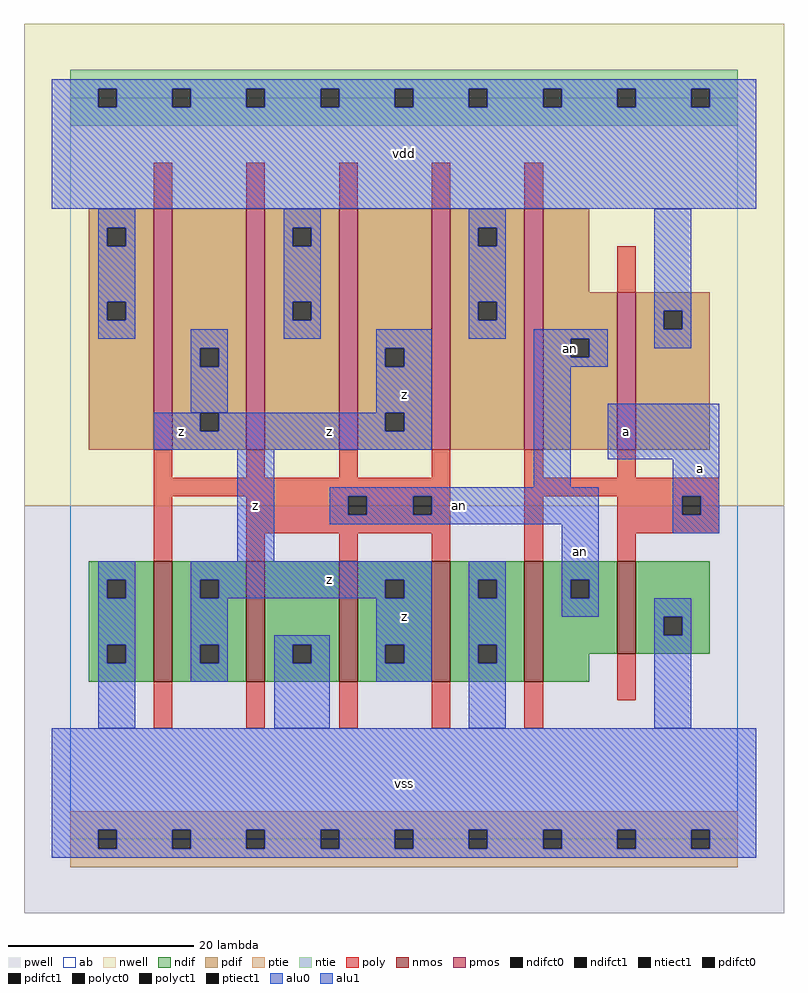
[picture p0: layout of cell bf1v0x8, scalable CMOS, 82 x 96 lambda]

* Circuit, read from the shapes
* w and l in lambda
.subckt bf1v0x8 a an vdd vss z
M1 z an vss vss nfet w=13 l=2 m=4
M2 an a vss vss nfet w=13 l=2
M3 vss a an vss nfet w=10 l=2
M4 z an vdd vdd pfet w=26 l=2 m=4
M5 an a vdd vdd pfet w=26 l=2
M6 vdd a an vdd pfet w=17 l=2
.ends

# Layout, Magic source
magic
tech scmos
<< ab >>
rect 0 0 72 80
<< nwell >>
rect -5 36 77 88
<< pwell >>
rect -5 -8 77 36
<< poly >>
rect 9 68 11 73
rect 19 68 21 73
rect 29 68 31 73
rect 39 68 41 73
rect 49 68 51 73
rect 59 59 61 64
rect 9 39 11 42
rect 19 39 21 42
rect 29 39 31 42
rect 39 39 41 42
rect 9 37 41 39
rect 9 30 11 37
rect 19 35 30 37
rect 32 35 37 37
rect 39 35 41 37
rect 19 33 41 35
rect 19 30 21 33
rect 29 30 31 33
rect 39 30 41 33
rect 49 39 51 42
rect 59 39 61 42
rect 49 37 70 39
rect 49 30 51 37
rect 59 35 66 37
rect 68 35 70 37
rect 59 33 70 35
rect 59 30 61 33
rect 9 12 11 17
rect 19 12 21 17
rect 29 12 31 17
rect 39 12 41 17
rect 49 12 51 17
rect 59 15 61 20
<< ndif >>
rect 2 28 9 30
rect 2 26 4 28
rect 6 26 9 28
rect 2 21 9 26
rect 2 19 4 21
rect 6 19 9 21
rect 2 17 9 19
rect 11 28 19 30
rect 11 26 14 28
rect 16 26 19 28
rect 11 21 19 26
rect 11 19 14 21
rect 16 19 19 21
rect 11 17 19 19
rect 21 21 29 30
rect 21 19 24 21
rect 26 19 29 21
rect 21 17 29 19
rect 31 28 39 30
rect 31 26 34 28
rect 36 26 39 28
rect 31 21 39 26
rect 31 19 34 21
rect 36 19 39 21
rect 31 17 39 19
rect 41 28 49 30
rect 41 26 44 28
rect 46 26 49 28
rect 41 21 49 26
rect 41 19 44 21
rect 46 19 49 21
rect 41 17 49 19
rect 51 28 59 30
rect 51 26 54 28
rect 56 26 59 28
rect 51 20 59 26
rect 61 24 69 30
rect 61 22 64 24
rect 66 22 69 24
rect 61 20 69 22
rect 51 17 56 20
<< pdif >>
rect 2 66 9 68
rect 2 64 4 66
rect 6 64 9 66
rect 2 58 9 64
rect 2 56 4 58
rect 6 56 9 58
rect 2 42 9 56
rect 11 53 19 68
rect 11 51 14 53
rect 16 51 19 53
rect 11 46 19 51
rect 11 44 14 46
rect 16 44 19 46
rect 11 42 19 44
rect 21 66 29 68
rect 21 64 24 66
rect 26 64 29 66
rect 21 58 29 64
rect 21 56 24 58
rect 26 56 29 58
rect 21 42 29 56
rect 31 53 39 68
rect 31 51 34 53
rect 36 51 39 53
rect 31 46 39 51
rect 31 44 34 46
rect 36 44 39 46
rect 31 42 39 44
rect 41 66 49 68
rect 41 64 44 66
rect 46 64 49 66
rect 41 58 49 64
rect 41 56 44 58
rect 46 56 49 58
rect 41 42 49 56
rect 51 59 56 68
rect 51 54 59 59
rect 51 52 54 54
rect 56 52 59 54
rect 51 42 59 52
rect 61 57 69 59
rect 61 55 64 57
rect 66 55 69 57
rect 61 42 69 55
<< alu1 >>
rect -2 81 74 82
rect -2 79 3 81
rect 5 79 11 81
rect 13 79 19 81
rect 21 79 27 81
rect 29 79 35 81
rect 37 79 43 81
rect 45 79 51 81
rect 53 79 59 81
rect 61 79 67 81
rect 69 79 74 81
rect -2 68 74 79
rect 33 53 39 55
rect 33 51 34 53
rect 36 51 39 53
rect 33 46 39 51
rect 9 44 14 46
rect 16 44 34 46
rect 36 44 39 46
rect 9 42 39 44
rect 18 30 22 42
rect 58 41 70 47
rect 13 28 39 30
rect 13 26 14 28
rect 16 26 34 28
rect 36 26 39 28
rect 13 21 17 26
rect 13 19 14 21
rect 16 19 17 21
rect 13 17 17 19
rect 33 21 39 26
rect 33 19 34 21
rect 36 19 39 21
rect 33 17 39 19
rect 65 37 70 41
rect 65 35 66 37
rect 68 35 70 37
rect 65 33 70 35
rect -2 1 74 12
rect -2 -1 3 1
rect 5 -1 11 1
rect 13 -1 19 1
rect 21 -1 27 1
rect 29 -1 35 1
rect 37 -1 43 1
rect 45 -1 51 1
rect 53 -1 59 1
rect 61 -1 67 1
rect 69 -1 74 1
rect -2 -2 74 -1
<< ptie >>
rect 0 1 72 3
rect 0 -1 3 1
rect 5 -1 11 1
rect 13 -1 19 1
rect 21 -1 27 1
rect 29 -1 35 1
rect 37 -1 43 1
rect 45 -1 51 1
rect 53 -1 59 1
rect 61 -1 67 1
rect 69 -1 72 1
rect 0 -3 72 -1
<< ntie >>
rect 0 81 72 83
rect 0 79 3 81
rect 5 79 11 81
rect 13 79 19 81
rect 21 79 27 81
rect 29 79 35 81
rect 37 79 43 81
rect 45 79 51 81
rect 53 79 59 81
rect 61 79 67 81
rect 69 79 72 81
rect 0 77 72 79
<< nmos >>
rect 9 17 11 30
rect 19 17 21 30
rect 29 17 31 30
rect 39 17 41 30
rect 49 17 51 30
rect 59 20 61 30
<< pmos >>
rect 9 42 11 68
rect 19 42 21 68
rect 29 42 31 68
rect 39 42 41 68
rect 49 42 51 68
rect 59 42 61 59
<< polyct0 >>
rect 30 35 32 37
rect 37 35 39 37
<< polyct1 >>
rect 66 35 68 37
<< ndifct0 >>
rect 4 26 6 28
rect 4 19 6 21
rect 24 19 26 21
rect 44 26 46 28
rect 44 19 46 21
rect 54 26 56 28
rect 64 22 66 24
<< ndifct1 >>
rect 14 26 16 28
rect 14 19 16 21
rect 34 26 36 28
rect 34 19 36 21
<< ntiect1 >>
rect 3 79 5 81
rect 11 79 13 81
rect 19 79 21 81
rect 27 79 29 81
rect 35 79 37 81
rect 43 79 45 81
rect 51 79 53 81
rect 59 79 61 81
rect 67 79 69 81
<< ptiect1 >>
rect 3 -1 5 1
rect 11 -1 13 1
rect 19 -1 21 1
rect 27 -1 29 1
rect 35 -1 37 1
rect 43 -1 45 1
rect 51 -1 53 1
rect 59 -1 61 1
rect 67 -1 69 1
<< pdifct0 >>
rect 4 64 6 66
rect 4 56 6 58
rect 14 51 16 53
rect 24 64 26 66
rect 24 56 26 58
rect 44 64 46 66
rect 44 56 46 58
rect 54 52 56 54
rect 64 55 66 57
<< pdifct1 >>
rect 14 44 16 46
rect 34 51 36 53
rect 34 44 36 46
<< alu0 >>
rect 3 66 7 68
rect 3 64 4 66
rect 6 64 7 66
rect 3 58 7 64
rect 3 56 4 58
rect 6 56 7 58
rect 3 54 7 56
rect 23 66 27 68
rect 23 64 24 66
rect 26 64 27 66
rect 23 58 27 64
rect 23 56 24 58
rect 26 56 27 58
rect 13 53 17 55
rect 23 54 27 56
rect 43 66 47 68
rect 43 64 44 66
rect 46 64 47 66
rect 43 58 47 64
rect 43 56 44 58
rect 46 56 47 58
rect 13 51 14 53
rect 16 51 17 53
rect 13 46 17 51
rect 43 54 47 56
rect 63 57 67 68
rect 63 55 64 57
rect 66 55 67 57
rect 50 54 58 55
rect 50 52 54 54
rect 56 52 58 54
rect 63 53 67 55
rect 50 51 58 52
rect 50 38 54 51
rect 28 37 57 38
rect 28 35 30 37
rect 32 35 37 37
rect 39 35 57 37
rect 28 34 57 35
rect 3 28 7 30
rect 3 26 4 28
rect 6 26 7 28
rect 3 21 7 26
rect 3 19 4 21
rect 6 19 7 21
rect 3 12 7 19
rect 22 21 28 22
rect 22 19 24 21
rect 26 19 28 21
rect 22 12 28 19
rect 43 28 47 30
rect 43 26 44 28
rect 46 26 47 28
rect 43 21 47 26
rect 53 28 57 34
rect 53 26 54 28
rect 56 26 57 28
rect 53 24 57 26
rect 63 24 67 26
rect 43 19 44 21
rect 46 19 47 21
rect 43 12 47 19
rect 63 22 64 24
rect 66 22 67 24
rect 63 12 67 22
<< labels >>
rlabel alu0 55 31 55 31 6 an
rlabel alu0 42 36 42 36 6 an
rlabel alu0 54 53 54 53 6 an
rlabel alu1 12 44 12 44 6 z
rlabel alu1 20 36 20 36 6 z
rlabel alu1 28 28 28 28 6 z
rlabel alu1 28 44 28 44 6 z
rlabel alu1 36 6 36 6 6 vss
rlabel alu1 36 24 36 24 6 z
rlabel alu1 36 48 36 48 6 z
rlabel alu1 36 74 36 74 6 vdd
rlabel alu1 60 44 60 44 6 a
rlabel alu1 68 40 68 40 6 a
<< end >>
